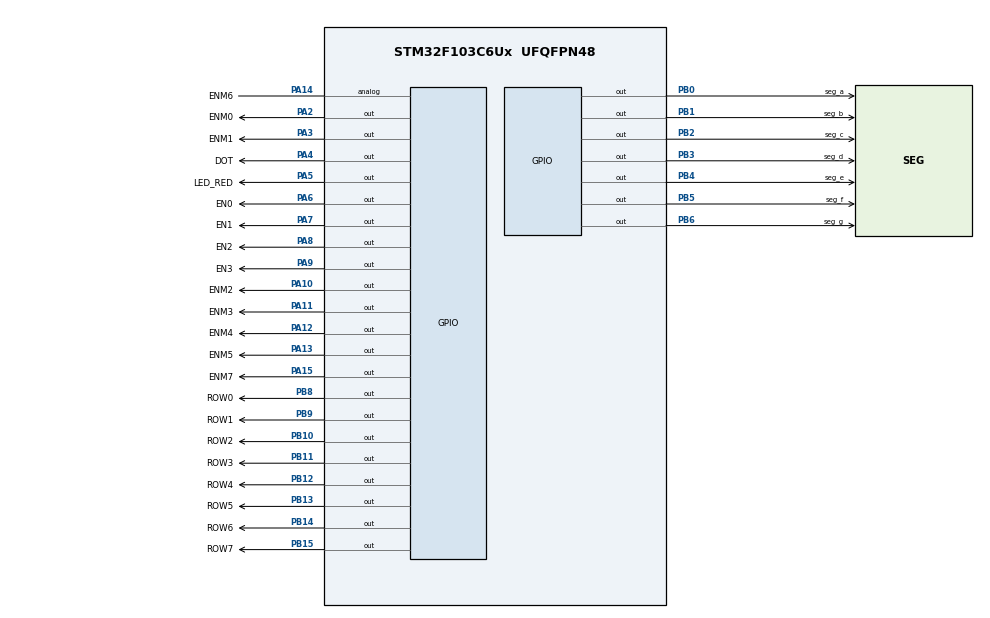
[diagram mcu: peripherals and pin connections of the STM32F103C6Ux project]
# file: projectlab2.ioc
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Mcu.Family=STM32F1
Mcu.Name=STM32F103C6Ux
Mcu.Package=UFQFPN48
NVIC.PriorityGroup=NVIC_PRIORITYGROUP_4
NVIC.TIM2_IRQn=true\:0\:0\:false\:false\:true\:true\:true
PA10.GPIO_Label=ENM2
PA10.Signal=GPIO_Output
PA11.GPIO_Label=ENM3
PA11.Signal=GPIO_Output
PA12.GPIO_Label=ENM4
PA12.Signal=GPIO_Output
PA13.GPIO_Label=ENM5
PA13.Signal=GPIO_Output
PA14.GPIO_Label=ENM6
PA14.Signal=GPIO_Analog
PA15.GPIO_Label=ENM7
PA15.Signal=GPIO_Output
PA2.GPIO_Label=ENM0
PA2.Signal=GPIO_Output
PA3.GPIO_Label=ENM1
PA3.Signal=GPIO_Output
PA4.GPIO_Label=DOT
PA4.Signal=GPIO_Output
PA5.GPIO_Label=LED_RED
PA5.Signal=GPIO_Output
PA6.GPIO_Label=EN0
PA6.Signal=GPIO_Output
PA7.GPIO_Label=EN1
PA7.Signal=GPIO_Output
PA8.GPIO_Label=EN2
PA8.Signal=GPIO_Output
PA9.GPIO_Label=EN3
PA9.Signal=GPIO_Output
PB0.GPIO_Label=seg_a
PB0.Signal=GPIO_Output
PB1.GPIO_Label=seg_b
PB1.Signal=GPIO_Output
PB10.GPIO_Label=ROW2
PB10.Signal=GPIO_Output
PB11.GPIO_Label=ROW3
PB11.Signal=GPIO_Output
PB12.GPIO_Label=ROW4
PB12.Signal=GPIO_Output
PB13.GPIO_Label=ROW5
PB13.Signal=GPIO_Output
PB14.GPIO_Label=ROW6
PB14.Signal=GPIO_Output
PB15.GPIO_Label=ROW7
PB15.Signal=GPIO_Output
PB2.GPIO_Label=seg_c
PB2.Signal=GPIO_Output
PB3.GPIO_Label=seg_d
PB3.Signal=GPIO_Output
PB4.GPIO_Label=seg_e
PB4.Signal=GPIO_Output
PB5.GPIO_Label=seg_f
PB5.Signal=GPIO_Output
PB6.GPIO_Label=seg_g
PB6.Signal=GPIO_Output
PB8.GPIO_Label=ROW0
PB8.Signal=GPIO_Output
PB9.GPIO_Label=ROW1
PB9.Signal=GPIO_Output
ProjectManager.HeapSize=0x200
ProjectManager.StackSize=0x400
ProjectManager.TargetToolchain=STM32CubeIDE
RCC.APB1Freq_Value=8000000
RCC.APB2Freq_Value=8000000
TIM2.Period=9
TIM2.Prescaler=7999
VP_SYS_VS_ND.Mode=No_Debug
VP_TIM2_VS_ClockSourceINT.Mode=Internal
board=custom

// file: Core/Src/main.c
/* USER CODE BEGIN Header */
/**
  ******************************************************************************
  * @file           : main.c
  * @brief          : Main program body
  ******************************************************************************
  * @attention
  *
  * <h2><center>&copy; Copyright (c) 2025 STMicroelectronics.
  * All rights reserved.</center></h2>
  *
  * This software component is licensed by ST under BSD 3-Clause license,
  * the "License"; You may not use this file except in compliance with the
  * License. You may obtain a copy of the License at:
  *                        opensource.org/licenses/BSD-3-Clause
  *
  ******************************************************************************
  */
/* USER CODE END Header */
#include "main.h"

/* USER CODE BEGIN Includes */
#include "software_timer.h"
/* USER CODE END Includes */

TIM_HandleTypeDef htim2;

void SystemClock_Config(void);
static void MX_TIM2_Init(void);
static void MX_GPIO_Init(void);

int main(void)
{

  /* MCU Configuration--------------------------------------------------------*/

  /* Reset of all peripherals, Initializes the Flash interface and the Systick. */
  HAL_Init();

  /* Configure the system clock */
  SystemClock_Config();

  /* Initialize all configured peripherals */
  MX_TIM2_Init();
  MX_GPIO_Init();
  /* USER CODE BEGIN 2 */
  static GPIO_TypeDef* ColPort[8] = {
		  ENM0_GPIO_Port,
		  ENM1_GPIO_Port,
		  ENM2_GPIO_Port,
		  ENM3_GPIO_Port,
		  ENM4_GPIO_Port,
		  ENM5_GPIO_Port,
		  ENM6_GPIO_Port,
		  ENM7_GPIO_Port,

  };

  static GPIO_TypeDef* RowPort[8] = {
		  ROW0_GPIO_Port,
		  ROW1_GPIO_Port,
		  ROW2_GPIO_Port,
		  ROW3_GPIO_Port,
		  ROW4_GPIO_Port,
		  ROW5_GPIO_Port,
		  ROW6_GPIO_Port,
		  ROW7_GPIO_Port,
  };

  static uint16_t ColPin[8] = {
		  ENM0_Pin,
		  ENM1_Pin,
		  ENM2_Pin,
		  ENM3_Pin,
		  ENM4_Pin,
		  ENM5_Pin,
		  ENM6_Pin,
		  ENM7_Pin,
  };

  static uint16_t RowPin[8] = {
		  ROW0_Pin,
		  ROW1_Pin,
	  	  ROW2_Pin,
	  	  ROW3_Pin,
		  ROW4_Pin,
		  ROW5_Pin,
		  ROW6_Pin,
		  ROW7_Pin
  };

  HAL_TIM_Base_Start_IT(&htim2);

  void display7SEG (int num){
	  switch(num){
	  case 0:
	              HAL_GPIO_WritePin(seg_a_GPIO_Port, seg_a_Pin, GPIO_PIN_RESET);
	              HAL_GPIO_WritePin(seg_b_GPIO_Port, seg_b_Pin, GPIO_PIN_RESET);
	              HAL_GPIO_WritePin(seg_c_GPIO_Port, seg_c_Pin, GPIO_PIN_RESET);
	              HAL_GPIO_WritePin(seg_d_GPIO_Port, seg_d_Pin, GPIO_PIN_RESET);
	              HAL_GPIO_WritePin(seg_e_GPIO_Port, seg_e_Pin, GPIO_PIN_RESET);
	              HAL_GPIO_WritePin(seg_f_GPIO_Port, seg_f_Pin, GPIO_PIN_RESET);
	              HAL_GPIO_WritePin(seg_g_GPIO_Port, seg_g_Pin, GPIO_PIN_SET);
	              break;

	          case 1:
	              HAL_GPIO_WritePin(seg_a_GPIO_Port, seg_a_Pin, GPIO_PIN_SET);
	              HAL_GPIO_WritePin(seg_b_GPIO_Port, seg_b_Pin, GPIO_PIN_RESET);
	              HAL_GPIO_WritePin(seg_c_GPIO_Port, seg_c_Pin, GPIO_PIN_RESET);
	              HAL_GPIO_WritePin(seg_d_GPIO_Port, seg_d_Pin, GPIO_PIN_SET);
	              HAL_GPIO_WritePin(seg_e_GPIO_Port, seg_e_Pin, GPIO_PIN_SET);
	              HAL_GPIO_WritePin(seg_f_GPIO_Port, seg_f_Pin, GPIO_PIN_SET);
	              HAL_GPIO_WritePin(seg_g_GPIO_Port, seg_g_Pin, GPIO_PIN_SET);
	              break;

	          case 2:
	              HAL_GPIO_WritePin(seg_a_GPIO_Port, seg_a_Pin, GPIO_PIN_RESET);
	              HAL_GPIO_WritePin(seg_b_GPIO_Port, seg_b_Pin, GPIO_PIN_RESET);
	              HAL_GPIO_WritePin(seg_c_GPIO_Port, seg_c_Pin, GPIO_PIN_SET);
	              HAL_GPIO_WritePin(seg_d_GPIO_Port, seg_d_Pin, GPIO_PIN_RESET);
	              HAL_GPIO_WritePin(seg_e_GPIO_Port, seg_e_Pin, GPIO_PIN_RESET);
	              HAL_GPIO_WritePin(seg_f_GPIO_Port, seg_f_Pin, GPIO_PIN_SET);
	              HAL_GPIO_WritePin(seg_g_GPIO_Port, seg_g_Pin, GPIO_PIN_RESET);
	              break;

	          case 3:
	              HAL_GPIO_WritePin(seg_a_GPIO_Port, seg_a_Pin, GPIO_PIN_RESET);
	              HAL_GPIO_WritePin(seg_b_GPIO_Port, seg_b_Pin, GPIO_PIN_RESET);
	              HAL_GPIO_WritePin(seg_c_GPIO_Port, seg_c_Pin, GPIO_PIN_RESET);
	              HAL_GPIO_WritePin(seg_d_GPIO_Port, seg_d_Pin, GPIO_PIN_RESET);
	              HAL_GPIO_WritePin(seg_e_GPIO_Port, seg_e_Pin, GPIO_PIN_SET);
	              HAL_GPIO_WritePin(seg_f_GPIO_Port, seg_f_Pin, GPIO_PIN_SET);
	              HAL_GPIO_WritePin(seg_g_GPIO_Port, seg_g_Pin, GPIO_PIN_RESET);
	              break;

	          case 4:
	              HAL_GPIO_WritePin(seg_a_GPIO_Port, seg_a_Pin, GPIO_PIN_SET);
	              HAL_GPIO_WritePin(seg_b_GPIO_Port, seg_b_Pin, GPIO_PIN_RESET);
	              HAL_GPIO_WritePin(seg_c_GPIO_Port, seg_c_Pin, GPIO_PIN_RESET);
	              HAL_GPIO_WritePin(seg_d_GPIO_Port, seg_d_Pin, GPIO_PIN_SET);
	              HAL_GPIO_WritePin(seg_e_GPIO_Port, seg_e_Pin, GPIO_PIN_SET);
	              HAL_GPIO_WritePin(seg_f_GPIO_Port, seg_f_Pin, GPIO_PIN_RESET);
	              HAL_GPIO_WritePin(seg_g_GPIO_Port, seg_g_Pin, GPIO_PIN_RESET);
	              break;

	          case 5:
	              HAL_GPIO_WritePin(seg_a_GPIO_Port, seg_a_Pin, GPIO_PIN_RESET);
	              HAL_GPIO_WritePin(seg_b_GPIO_Port, seg_b_Pin, GPIO_PIN_SET);
	              HAL_GPIO_WritePin(seg_c_GPIO_Port, seg_c_Pin, GPIO_PIN_RESET);
	              HAL_GPIO_WritePin(seg_d_GPIO_Port, seg_d_Pin, GPIO_PIN_RESET);
	              HAL_GPIO_WritePin(seg_e_GPIO_Port, seg_e_Pin, GPIO_PIN_SET);
	              HAL_GPIO_WritePin(seg_f_GPIO_Port, seg_f_Pin, GPIO_PIN_RESET);
	              HAL_GPIO_WritePin(seg_g_GPIO_Port, seg_g_Pin, GPIO_PIN_RESET);
	              break;

	          case 6:
	              HAL_GPIO_WritePin(seg_a_GPIO_Port, seg_a_Pin, GPIO_PIN_RESET);
	              HAL_GPIO_WritePin(seg_b_GPIO_Port, seg_b_Pin, GPIO_PIN_SET);
	              HAL_GPIO_WritePin(seg_c_GPIO_Port, seg_c_Pin, GPIO_PIN_RESET);
	              HAL_GPIO_WritePin(seg_d_GPIO_Port, seg_d_Pin, GPIO_PIN_RESET);
	              HAL_GPIO_WritePin(seg_e_GPIO_Port, seg_e_Pin, GPIO_PIN_RESET);
	              HAL_GPIO_WritePin(seg_f_GPIO_Port, seg_f_Pin, GPIO_PIN_RESET);
	              HAL_GPIO_WritePin(seg_g_GPIO_Port, seg_g_Pin, GPIO_PIN_RESET);
	              break;

	          case 7:
	              HAL_GPIO_WritePin(seg_a_GPIO_Port, seg_a_Pin, GPIO_PIN_RESET);
	              HAL_GPIO_WritePin(seg_b_GPIO_Port, seg_b_Pin, GPIO_PIN_RESET);
	              HAL_GPIO_WritePin(seg_c_GPIO_Port, seg_c_Pin, GPIO_PIN_RESET);
	              HAL_GPIO_WritePin(seg_d_GPIO_Port, seg_d_Pin, GPIO_PIN_SET);
	              HAL_GPIO_WritePin(seg_e_GPIO_Port, seg_e_Pin, GPIO_PIN_SET);
	              HAL_GPIO_WritePin(seg_f_GPIO_Port, seg_f_Pin, GPIO_PIN_SET);
	              HAL_GPIO_WritePin(seg_g_GPIO_Port, seg_g_Pin, GPIO_PIN_SET);
	              break;

	          case 8:
	              HAL_GPIO_WritePin(seg_a_GPIO_Port, seg_a_Pin, GPIO_PIN_RESET);
	              HAL_GPIO_WritePin(seg_b_GPIO_Port, seg_b_Pin, GPIO_PIN_RESET);
	              HAL_GPIO_WritePin(seg_c_GPIO_Port, seg_c_Pin, GPIO_PIN_RESET);
	              HAL_GPIO_WritePin(seg_d_GPIO_Port, seg_d_Pin, GPIO_PIN_RESET);
	              HAL_GPIO_WritePin(seg_e_GPIO_Port, seg_e_Pin, GPIO_PIN_RESET);
	              HAL_GPIO_WritePin(seg_f_GPIO_Port, seg_f_Pin, GPIO_PIN_RESET);
	              HAL_GPIO_WritePin(seg_g_GPIO_Port, seg_g_Pin, GPIO_PIN_RESET);
	              break;

	          case 9:
	              HAL_GPIO_WritePin(seg_a_GPIO_Port, seg_a_Pin, GPIO_PIN_RESET);
	              HAL_GPIO_WritePin(seg_b_GPIO_Port, seg_b_Pin, GPIO_PIN_RESET);
	              HAL_GPIO_WritePin(seg_c_GPIO_Port, seg_c_Pin, GPIO_PIN_RESET);
	              HAL_GPIO_WritePin(seg_d_GPIO_Port, seg_d_Pin, GPIO_PIN_RESET);
	              HAL_GPIO_WritePin(seg_e_GPIO_Port, seg_e_Pin, GPIO_PIN_SET);
	              HAL_GPIO_WritePin(seg_f_GPIO_Port, seg_f_Pin, GPIO_PIN_RESET);
	              HAL_GPIO_WritePin(seg_g_GPIO_Port, seg_g_Pin, GPIO_PIN_RESET);
	              break;

	          default: // Tắt hết khi nhập số không hợp lệ
	              HAL_GPIO_WritePin(seg_a_GPIO_Port, seg_a_Pin, GPIO_PIN_SET);
	              HAL_GPIO_WritePin(seg_b_GPIO_Port, seg_b_Pin, GPIO_PIN_SET);
	              HAL_GPIO_WritePin(seg_c_GPIO_Port, seg_c_Pin, GPIO_PIN_SET);
	              HAL_GPIO_WritePin(seg_d_GPIO_Port, seg_d_Pin, GPIO_PIN_SET);
	              HAL_GPIO_WritePin(seg_e_GPIO_Port, seg_e_Pin, GPIO_PIN_SET);
	              HAL_GPIO_WritePin(seg_f_GPIO_Port, seg_f_Pin, GPIO_PIN_SET);
	              HAL_GPIO_WritePin(seg_g_GPIO_Port, seg_g_Pin, GPIO_PIN_SET);
	              break;
	  }
  }

  void turnLED(int index){
	  HAL_GPIO_WritePin(EN0_GPIO_Port, EN0_Pin, GPIO_PIN_SET);
	  HAL_GPIO_WritePin(EN1_GPIO_Port, EN1_Pin, GPIO_PIN_SET);
	  HAL_GPIO_WritePin(EN2_GPIO_Port, EN2_Pin, GPIO_PIN_SET);
	  HAL_GPIO_WritePin(EN3_GPIO_Port, EN3_Pin, GPIO_PIN_SET);
	  switch(index){
	  	  case 0:
	  		HAL_GPIO_WritePin(EN0_GPIO_Port, EN0_Pin, GPIO_PIN_RESET);
	  		break;
	  	  case 1:
	  		HAL_GPIO_WritePin(EN1_GPIO_Port, EN1_Pin, GPIO_PIN_RESET);
	  		break;
	  	  case 2:
	  		HAL_GPIO_WritePin(EN2_GPIO_Port, EN2_Pin, GPIO_PIN_RESET);
	  		break;
	  	  case 3:
	  		HAL_GPIO_WritePin(EN3_GPIO_Port, EN3_Pin, GPIO_PIN_RESET);
	  		break;
	  	  default:
	  		break;
	  }
  }

  const int MAX_LED = 4;
  int index_led = 0;
  int led_buffer[4] = {0, 0, 0, 0};
  int hour = 15, minute = 8, second = 50;
  void update7SEG(int index){
	  switch(index){
	  	  case 0:
	  		  turnLED(index);
	  		  display7SEG(led_buffer[index]);
	  		  break;
	  	  case 1:
	  		  turnLED(index);
	  		  display7SEG(led_buffer[index]);
	  		  break;
	  	  case 2:
	  		  turnLED(index);
	  		  display7SEG(led_buffer[index]);
	  		  break;
	  	  case 3:
	  		  turnLED(index);
	  		  display7SEG(led_buffer[index]);
	  		  break;
	  	  default:
	  		  break;
	  }
  }

  void updateClockBuffer(){
	  if (minute == 0){
		  led_buffer[2] = 0;
		  led_buffer[3] = 0;
	  }
	  else {
		  led_buffer[2] = minute/10;
		  led_buffer[3] = minute%10;
	  }
	  if (hour == 0){
		  led_buffer[0] = 0;
		  led_buffer[1] = 0;
	  }
	  else {
		  led_buffer[0] = hour/10;
		  led_buffer[1] = hour%10;
	  }
  }

  const int MAX_LED_MATRIX = 8;
  int index_led_matrix = 0;
  uint8_t matrix_buffer[8] = {
	  	0b00011000,
	  	0b00111100,
	  	0b00100100,
	  	0b01100110,
	  	0b01111110,
	  	0b01100110,
	  	0b01100110,
	  	0b01100110
  };

  void clearMatrix(){
	for (int i=0; i<8; i++) HAL_GPIO_WritePin(RowPort[i], RowPin[i], 1);
}

  void updateLEDMatrix(int index){
	  clearMatrix();
	  switch(index){
	  	  case 0:
	  		  HAL_GPIO_WritePin(RowPort[0], RowPin[0], 0);
	  		  for (int i=0; i<8; i++) HAL_GPIO_WritePin(ColPort[i], ColPin[i], (matrix_buffer[index] & (1<<i))?0:1);
	  		  break;
	  	  case 1:
	  		  HAL_GPIO_WritePin(RowPort[1], RowPin[1], 0);
	  		  for (int i=0; i<8; i++) HAL_GPIO_WritePin(ColPort[i], ColPin[i], (matrix_buffer[index] & (1<<i))?0:1);
	  		  break;
	  	  case 2:
	  		  HAL_GPIO_WritePin(RowPort[2], RowPin[2], 0);
	  		  for (int i=0; i<8; i++) HAL_GPIO_WritePin(ColPort[i], ColPin[i], (matrix_buffer[index] & (1<<i))?0:1);
	  		  break;
	  	  case 3:
	  		  HAL_GPIO_WritePin(RowPort[3], RowPin[3], 0);
	  		  for (int i=0; i<8; i++) HAL_GPIO_WritePin(ColPort[i], ColPin[i], (matrix_buffer[index] & (1<<i))?0:1);
	  		  break;
	  	  case 4:
	  		  HAL_GPIO_WritePin(RowPort[4], RowPin[4], 0);
	  		  for (int i=0; i<8; i++) HAL_GPIO_WritePin(ColPort[i], ColPin[i], (matrix_buffer[index] & (1<<i))?0:1);
	  		  break;
	  	  case 5:
	  		  HAL_GPIO_WritePin(RowPort[5], RowPin[5], 0);
	  		  for (int i=0; i<8; i++) HAL_GPIO_WritePin(ColPort[i], ColPin[i], (matrix_buffer[index] & (1<<i))?0:1);
	  		  break;
	  	  case 6:
	  		  HAL_GPIO_WritePin(RowPort[6], RowPin[6], 0);
	  		  for (int i=0; i<8; i++) HAL_GPIO_WritePin(ColPort[i], ColPin[i], (matrix_buffer[index] & (1<<i))?0:1);
	  		  break;
	  	  case 7:
	  		  HAL_GPIO_WritePin(RowPort[7], RowPin[7], 0);
	  		  for (int i=0; i<8; i++) HAL_GPIO_WritePin(ColPort[i], ColPin[i], (matrix_buffer[index] & (1<<i))?0:1);
	  		  break;
	  	  default:
	  		  break;
	  }
  }

  uint8_t shift_left(uint8_t val){
	  uint8_t msb = val >> 7;
	  return (val << 1) | msb;
  }

  uint8_t shift_right(uint8_t val) {
      uint8_t lsb = val & 1;
      return (val >> 1) | (lsb << 7);
  }

  void updateMatrixBuffer(){
	  for (int i=0; i<8; i++)
	   matrix_buffer[i] = shift_right(matrix_buffer[i]);
  }

  /* USER CODE END 2 */

  /* Infinite loop */
  /* USER CODE BEGIN WHILE */
  setTimer(0, 100);
  setTimer(1, 25);
  setTimer(2, 101);
  setTimer(3,1);
  setTimer(4, 25);

  while (1)
  {
	  if (isTimerExpired(0) == 1){
		  HAL_GPIO_TogglePin(LED_RED_GPIO_Port, LED_RED_Pin);
		  HAL_GPIO_TogglePin(DOT_GPIO_Port, DOT_Pin);
		  setTimer(0, 100);
	  }

	  if (isTimerExpired(1) == 1){
		  update7SEG(index_led++);
		  if (index_led >= 4) index_led = 0;
		  setTimer(1, 25);
	  }

	  if (isTimerExpired(2)==1){
		  second ++;
		  if (second >= 60){
			  second = 0;
			  minute ++;
		  }
		  if(minute >= 60){
			  minute = 0;
			  hour ++;
		  }
		  if(hour >=24) hour = 0;
		  updateClockBuffer();
		  setTimer(2, 100);
	  }
	  if (isTimerExpired(3) == 1){
		  updateLEDMatrix(index_led_matrix++);
		  if (index_led_matrix >= 8) index_led_matrix = 0;
		  setTimer(3, 1);
	  }
	  if (isTimerExpired(4) ==1){
		  updateMatrixBuffer();
		  setTimer(4, 25);
	  }

    /* USER CODE END WHILE */

  }
}

void SystemClock_Config(void)
{
  RCC_OscInitTypeDef RCC_OscInitStruct = {0};
  RCC_ClkInitTypeDef RCC_ClkInitStruct = {0};

  /** Initializes the RCC Oscillators according to the specified parameters
  * in the RCC_OscInitTypeDef structure.
  */
  RCC_OscInitStruct.OscillatorType = RCC_OSCILLATORTYPE_HSI;
  RCC_OscInitStruct.HSIState = RCC_HSI_ON;
  RCC_OscInitStruct.HSICalibrationValue = RCC_HSICALIBRATION_DEFAULT;
  RCC_OscInitStruct.PLL.PLLState = RCC_PLL_NONE;
  if (HAL_RCC_OscConfig(&RCC_OscInitStruct) != HAL_OK)
  {
    Error_Handler();
  }
  /** Initializes the CPU, AHB and APB buses clocks
  */
  RCC_ClkInitStruct.ClockType = RCC_CLOCKTYPE_HCLK|RCC_CLOCKTYPE_SYSCLK
                              |RCC_CLOCKTYPE_PCLK1|RCC_CLOCKTYPE_PCLK2;
  RCC_ClkInitStruct.SYSCLKSource = RCC_SYSCLKSOURCE_HSI;
  RCC_ClkInitStruct.AHBCLKDivider = RCC_SYSCLK_DIV1;
  RCC_ClkInitStruct.APB1CLKDivider = RCC_HCLK_DIV1;
  RCC_ClkInitStruct.APB2CLKDivider = RCC_HCLK_DIV1;

  if (HAL_RCC_ClockConfig(&RCC_ClkInitStruct, FLASH_LATENCY_0) != HAL_OK)
  {
    Error_Handler();
  }
}

static void MX_TIM2_Init(void)
{

  TIM_ClockConfigTypeDef sClockSourceConfig = {0};
  TIM_MasterConfigTypeDef sMasterConfig = {0};

  htim2.Instance = TIM2;
  htim2.Init.Prescaler = 7999;
  htim2.Init.CounterMode = TIM_COUNTERMODE_UP;
  htim2.Init.Period = 9;
  htim2.Init.ClockDivision = TIM_CLOCKDIVISION_DIV1;
  htim2.Init.AutoReloadPreload = TIM_AUTORELOAD_PRELOAD_DISABLE;
  if (HAL_TIM_Base_Init(&htim2) != HAL_OK)
  {
    Error_Handler();
  }
  sClockSourceConfig.ClockSource = TIM_CLOCKSOURCE_INTERNAL;
  if (HAL_TIM_ConfigClockSource(&htim2, &sClockSourceConfig) != HAL_OK)
  {
    Error_Handler();
  }
  sMasterConfig.MasterOutputTrigger = TIM_TRGO_RESET;
  sMasterConfig.MasterSlaveMode = TIM_MASTERSLAVEMODE_DISABLE;
  if (HAL_TIMEx_MasterConfigSynchronization(&htim2, &sMasterConfig) != HAL_OK)
  {
    Error_Handler();
  }

}

static void MX_GPIO_Init(void)
{
  GPIO_InitTypeDef GPIO_InitStruct = {0};

  /* GPIO Ports Clock Enable */
  __HAL_RCC_GPIOA_CLK_ENABLE();
  __HAL_RCC_GPIOB_CLK_ENABLE();

  /*Configure GPIO pin Output Level */
  HAL_GPIO_WritePin(GPIOA, ENM0_Pin|ENM1_Pin|DOT_Pin|LED_RED_Pin
                          |EN0_Pin|EN1_Pin|EN2_Pin|EN3_Pin
                          |ENM2_Pin|ENM3_Pin|ENM4_Pin|ENM5_Pin
                          |ENM6_Pin|ENM7_Pin, GPIO_PIN_RESET);

  /*Configure GPIO pin Output Level */
  HAL_GPIO_WritePin(GPIOB, seg_a_Pin|seg_b_Pin|seg_c_Pin|ROW2_Pin
                          |ROW3_Pin|ROW4_Pin|ROW5_Pin|ROW6_Pin
                          |ROW7_Pin|seg_d_Pin|seg_e_Pin|seg_f_Pin
                          |seg_g_Pin|ROW0_Pin|ROW1_Pin, GPIO_PIN_RESET);

  /*Configure GPIO pins : ENM0_Pin ENM1_Pin DOT_Pin LED_RED_Pin
                           EN0_Pin EN1_Pin EN2_Pin EN3_Pin
                           ENM2_Pin ENM3_Pin ENM4_Pin ENM5_Pin
                           ENM6_Pin ENM7_Pin */
  GPIO_InitStruct.Pin = ENM0_Pin|ENM1_Pin|DOT_Pin|LED_RED_Pin
                          |EN0_Pin|EN1_Pin|EN2_Pin|EN3_Pin
                          |ENM2_Pin|ENM3_Pin|ENM4_Pin|ENM5_Pin
                          |ENM6_Pin|ENM7_Pin;
  GPIO_InitStruct.Mode = GPIO_MODE_OUTPUT_PP;
  GPIO_InitStruct.Pull = GPIO_NOPULL;
  GPIO_InitStruct.Speed = GPIO_SPEED_FREQ_LOW;
  HAL_GPIO_Init(GPIOA, &GPIO_InitStruct);

  /*Configure GPIO pins : seg_a_Pin seg_b_Pin seg_c_Pin ROW2_Pin
                           ROW3_Pin ROW4_Pin ROW5_Pin ROW6_Pin
                           ROW7_Pin seg_d_Pin seg_e_Pin seg_f_Pin
                           seg_g_Pin ROW0_Pin ROW1_Pin */
  GPIO_InitStruct.Pin = seg_a_Pin|seg_b_Pin|seg_c_Pin|ROW2_Pin
                          |ROW3_Pin|ROW4_Pin|ROW5_Pin|ROW6_Pin
                          |ROW7_Pin|seg_d_Pin|seg_e_Pin|seg_f_Pin
                          |seg_g_Pin|ROW0_Pin|ROW1_Pin;
  GPIO_InitStruct.Mode = GPIO_MODE_OUTPUT_PP;
  GPIO_InitStruct.Pull = GPIO_NOPULL;
  GPIO_InitStruct.Speed = GPIO_SPEED_FREQ_LOW;
  HAL_GPIO_Init(GPIOB, &GPIO_InitStruct);

}

/* USER CODE BEGIN 4 */
void HAL_TIM_PeriodElapsedCallback(TIM_HandleTypeDef *htim){
	timerRun();
}
/* USER CODE END 4 */

void Error_Handler(void)
{
  __disable_irq();
  while (1)
  {
  }
}

/************************ (C) COPYRIGHT STMicroelectronics *****END OF FILE****/
